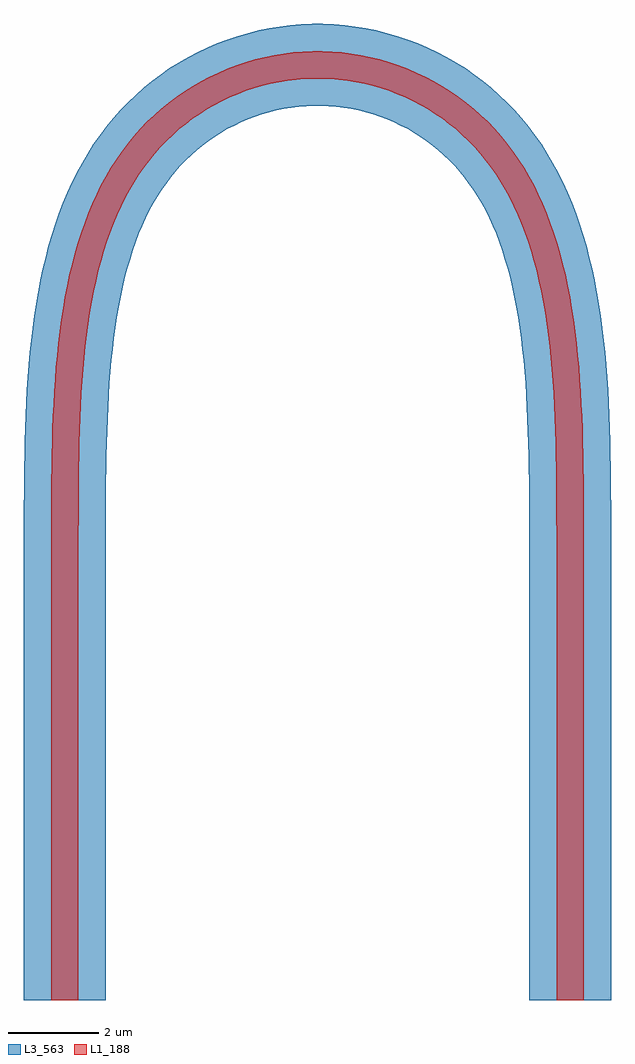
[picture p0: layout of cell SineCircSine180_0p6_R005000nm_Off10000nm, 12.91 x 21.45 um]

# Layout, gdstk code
import gdstk
lib = gdstk.Library(unit=1e-6, precision=1e-09)
L1_188 = (1, 188)
L3_563 = (3, 563)

sinecircsine180_0p6_r005 = lib.new_cell('SineCircSine180_0p6_R005000nm_Off10000nm')
sinecircsine180_0p6_r005.add(gdstk.FlexPath([(-5.554,-15.554),(-5.554,-5.554),(-5.554,-5.269),(-5.553,-4.984),(-5.553,-4.7),(-5.551,-4.417),(-5.549,-4.134),(-5.545,-3.853),(-5.54,-3.573),(-5.534,-3.295),(-5.526,-3.018),(-5.515,-2.744),(-5.503,-2.472),(-5.488,-2.202),(-5.47,-1.935),(-5.45,-1.67),(-5.426,-1.409),(-5.399,-1.151),(-5.369,-0.897),(-5.335,-0.646),(-5.297,-0.399),(-5.255,-0.156),(-5.21,0.083),(-5.159,0.318),(-5.105,0.548),(-5.046,0.774),(-4.982,0.995),(-4.913,1.211),(-4.839,1.422),(-4.761,1.628),(-4.677,1.829),(-4.587,2.024),(-4.493,2.214),(-4.393,2.399),(-4.287,2.578),(-4.176,2.752),(-4.059,2.92),(-3.937,3.083),(-3.809,3.239),(-3.675,3.39),(-3.536,3.536),(-3.39,3.675),(-3.24,3.809),(-3.084,3.936),(-2.923,4.057),(-2.757,4.171),(-2.587,4.279),(-2.412,4.38),(-2.234,4.473),(-2.052,4.559),(-1.867,4.638),(-1.679,4.71),(-1.488,4.774),(-1.294,4.83),(-1.099,4.878),(-0.901,4.918),(-0.703,4.95),(-0.503,4.975),(-0.302,4.991),(-0.101,4.999),(0.101,4.999),(0.302,4.991),(0.503,4.975),(0.703,4.95),(0.901,4.918),(1.099,4.878),(1.294,4.83),(1.488,4.774),(1.679,4.71),(1.867,4.638),(2.052,4.559),(2.234,4.473),(2.412,4.38),(2.587,4.279),(2.757,4.171),(2.923,4.057),(3.084,3.936),(3.24,3.809),(3.39,3.675),(3.536,3.536),(3.675,3.39),(3.809,3.239),(3.937,3.083),(4.059,2.92),(4.176,2.752),(4.287,2.578),(4.393,2.399),(4.493,2.214),(4.587,2.024),(4.677,1.829),(4.761,1.628),(4.839,1.422),(4.913,1.211),(4.982,0.995),(5.046,0.774),(5.105,0.548),(5.159,0.318),(5.21,0.083),(5.255,-0.156),(5.297,-0.399),(5.335,-0.646),(5.369,-0.897),(5.399,-1.151),(5.426,-1.409),(5.45,-1.67),(5.47,-1.935),(5.488,-2.202),(5.503,-2.472),(5.515,-2.744),(5.526,-3.018),(5.534,-3.295),(5.54,-3.573),(5.545,-3.853),(5.549,-4.134),(5.551,-4.417),(5.553,-4.7),(5.553,-4.984),(5.554,-5.269),(5.554,-5.554),(5.554,-15.554)], 0.6, ends="flush", simple_path=True, layer=1, datatype=188))  # L1_188
sinecircsine180_0p6_r005.add(gdstk.FlexPath([(-5.554,-15.554),(-5.554,-5.554),(-5.554,-5.269),(-5.553,-4.984),(-5.553,-4.7),(-5.551,-4.417),(-5.549,-4.134),(-5.545,-3.853),(-5.54,-3.573),(-5.534,-3.295),(-5.526,-3.018),(-5.515,-2.744),(-5.503,-2.472),(-5.488,-2.202),(-5.47,-1.935),(-5.45,-1.67),(-5.426,-1.409),(-5.399,-1.151),(-5.369,-0.897),(-5.335,-0.646),(-5.297,-0.399),(-5.255,-0.156),(-5.21,0.083),(-5.159,0.318),(-5.105,0.548),(-5.046,0.774),(-4.982,0.995),(-4.913,1.211),(-4.839,1.422),(-4.761,1.628),(-4.677,1.829),(-4.587,2.024),(-4.493,2.214),(-4.393,2.399),(-4.287,2.578),(-4.176,2.752),(-4.059,2.92),(-3.937,3.083),(-3.809,3.239),(-3.675,3.39),(-3.536,3.536),(-3.39,3.675),(-3.24,3.809),(-3.084,3.936),(-2.923,4.057),(-2.757,4.171),(-2.587,4.279),(-2.412,4.38),(-2.234,4.473),(-2.052,4.559),(-1.867,4.638),(-1.679,4.71),(-1.488,4.774),(-1.294,4.83),(-1.099,4.878),(-0.901,4.918),(-0.703,4.95),(-0.503,4.975),(-0.302,4.991),(-0.101,4.999),(0.101,4.999),(0.302,4.991),(0.503,4.975),(0.703,4.95),(0.901,4.918),(1.099,4.878),(1.294,4.83),(1.488,4.774),(1.679,4.71),(1.867,4.638),(2.052,4.559),(2.234,4.473),(2.412,4.38),(2.587,4.279),(2.757,4.171),(2.923,4.057),(3.084,3.936),(3.24,3.809),(3.39,3.675),(3.536,3.536),(3.675,3.39),(3.809,3.239),(3.937,3.083),(4.059,2.92),(4.176,2.752),(4.287,2.578),(4.393,2.399),(4.493,2.214),(4.587,2.024),(4.677,1.829),(4.761,1.628),(4.839,1.422),(4.913,1.211),(4.982,0.995),(5.046,0.774),(5.105,0.548),(5.159,0.318),(5.21,0.083),(5.255,-0.156),(5.297,-0.399),(5.335,-0.646),(5.369,-0.897),(5.399,-1.151),(5.426,-1.409),(5.45,-1.67),(5.47,-1.935),(5.488,-2.202),(5.503,-2.472),(5.515,-2.744),(5.526,-3.018),(5.534,-3.295),(5.54,-3.573),(5.545,-3.853),(5.549,-4.134),(5.551,-4.417),(5.553,-4.7),(5.553,-4.984),(5.554,-5.269),(5.554,-5.554),(5.554,-15.554)], 1.8, ends="flush", simple_path=True, layer=3, datatype=563))  # L3_563

lib.write_gds('SineCircSine180_0p6_R005000nm_Off10000nm.gds')
